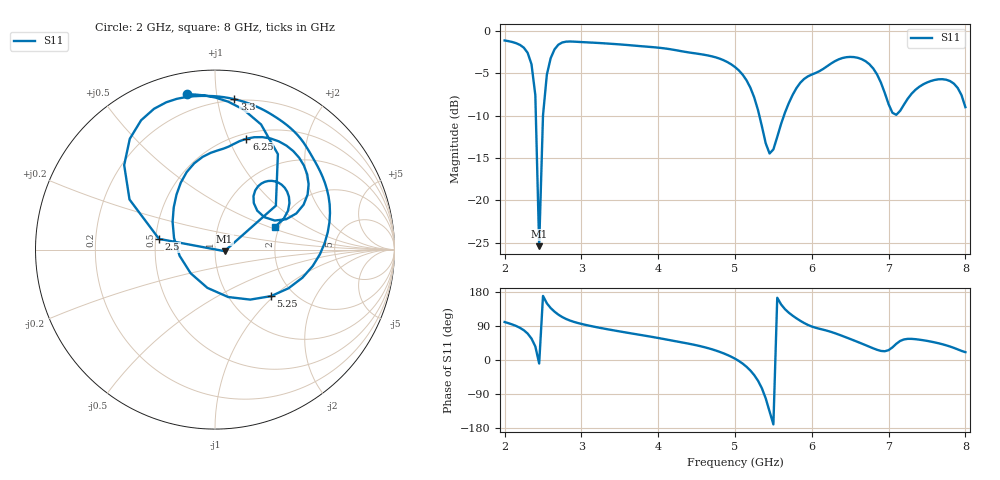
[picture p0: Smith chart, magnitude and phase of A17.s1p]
! Generated by Hertzon (EMerge FEM)
# HZ S RI R 50
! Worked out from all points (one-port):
!   121 points, 2 GHz to 8 GHz, reference 50 ohm
!   lowest |S11| = -25.4 dB at 2.45 GHz (marker M1), VSWR 1.11, Z = 55.6 - j0.968 ohm
!   |S11| at or under -10 dB: 2.407 GHz to 2.5 GHz (93.05 MHz wide, 3.79 % of centre); 5.317 GHz to 5.637 GHz (319.7 MHz wide, 5.84 % of centre)
!   S11 on the Smith chart (normalised r, x): 2 GHz: 0.11, +0.83; 2.5 GHz: 0.52, +0.07; 3.3 GHz: 0.19, +1.12; 5.25 GHz: 1.54, -0.96; 6.25 GHz: 0.55, +1.16; 8 GHz: 1.89, +0.54
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2e9  -0.1556 0.865
2.25e9  0.158 0.781
2.35e9  0.3504 0.5317
2.4e9  0.3391 0.2448
2.45e9  0.053 -0.00868
2.5e9  -0.3121 0.0598
2.55e9  -0.4763 0.2792
2.6e9  -0.506 0.4708
2.75e9  -0.3396 0.7845
3.3e9  0.1085 0.838
3.5e9  0.2101 0.8059
4.25e9  0.5071 0.5756
4.65e9  0.6127 0.371
5e9  0.6114 0.0373
5.25e9  0.3118 -0.2593
5.35e9  0.0731 -0.2642
5.45e9  -0.1355 -0.1321
5.55e9  -0.2282 0.0642
5.75e9  -0.1905 0.3732
5.9e9  -0.069 0.5166
6.25e9  0.1748 0.6178
6.5e9  0.3982 0.5793
6.75e9  0.5216 0.3647
6.95e9  0.3964 0.1692
7.1e9  0.2352 0.217
7.25e9  0.2242 0.3299
7.75e9  0.4021 0.3228
8e9  0.3323 0.1252
